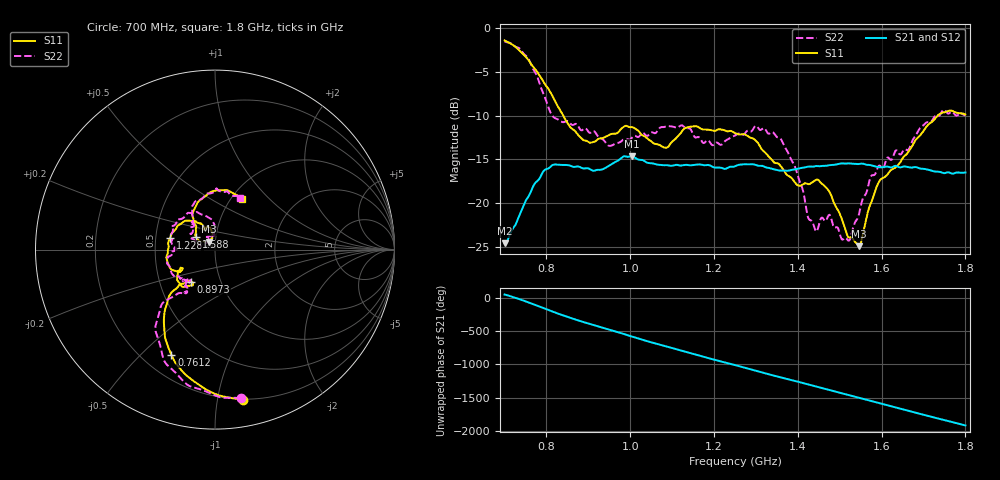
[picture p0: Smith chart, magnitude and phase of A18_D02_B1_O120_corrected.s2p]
! Created with skrf 1.9.0 (http://scikit-rf.org).
# Hz S RI R 50.0
!freq ReS11 ImS11 ReS21 ImS21 ReS12 ImS12 ReS22 ImS22
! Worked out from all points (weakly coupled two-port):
!   1601 points, 700 MHz to 1.8 GHz, reference 50 ohm
!   highest |S21| = -14.64 dB at 1.003 GHz (marker M1); lowest = -24.6 dB at 700 MHz (marker M2)
!   lowest |S11| = -24.9 dB at 1.546 GHz (marker M3), VSWR 1.12, Z = 46.4 + j4.08 ohm
!   |S11| at or under -10 dB: 839.9 MHz to 1.734 GHz (894.1 MHz wide, 69.5 % of centre)
!   |S22| runs from -24.3 to -1.5 dB; largest |S21 - S12| = 0.0034
!   S11 on the Smith chart (normalised r, x): 700 MHz: 0.20, -1.19; 761.2 MHz: 0.32, -0.62; 897.3 MHz: 0.72, -0.27; 1.228 GHz: 0.60, +0.08; 1.588 GHz: 0.81, +0.11; 1.8 GHz: 1.12, +0.71
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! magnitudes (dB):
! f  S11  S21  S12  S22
! 700 MHz  -1.4  -24.6  -24.4  -1.5
! 761.2 MHz  -4.0  -18.9  -18.8  -3.9
! 814.8 MHz  -7.8  -15.7  -15.7  -10.1
! 883.6 MHz  -12.6  -16.0  -15.9  -11.7
! 897.3 MHz  -12.9  -16.0  -16.1  -11.7
! 950.9 MHz  -12.2  -15.7  -15.7  -13.5
! 1.003 GHz  -11.3  -14.6  -14.8  -12.6
! 1.067 GHz  -13.3  -15.6  -15.6  -11.6
! 1.139 GHz  -11.3  -15.7  -15.6  -11.4
! 1.228 GHz  -11.8  -16.1  -16.0  -12.9
! 1.25 GHz  -12.0  -15.8  -15.7  -12.3
! 1.3 GHz  -12.9  -15.7  -15.7  -11.2
! 1.359 GHz  -15.8  -16.3  -16.3  -12.7
! 1.394 GHz  -17.7  -16.1  -16.1  -15.9
! 1.434 GHz  -17.7  -15.9  -15.8  -22.1
! 1.473 GHz  -18.5  -15.7  -15.7  -21.5
! 1.521 GHz  -23.9  -15.5  -15.5  -24.3
! 1.546 GHz  -24.9  -15.5  -15.5  -21.2
! 1.588 GHz  -18.1  -15.9  -15.9  -16.3
! 1.617 GHz  -16.5  -15.9  -15.8  -14.9
! 1.737 GHz  -9.9  -16.4  -16.5  -10.0
! 1.8 GHz  -9.9  -16.5  -16.5  -10.0
